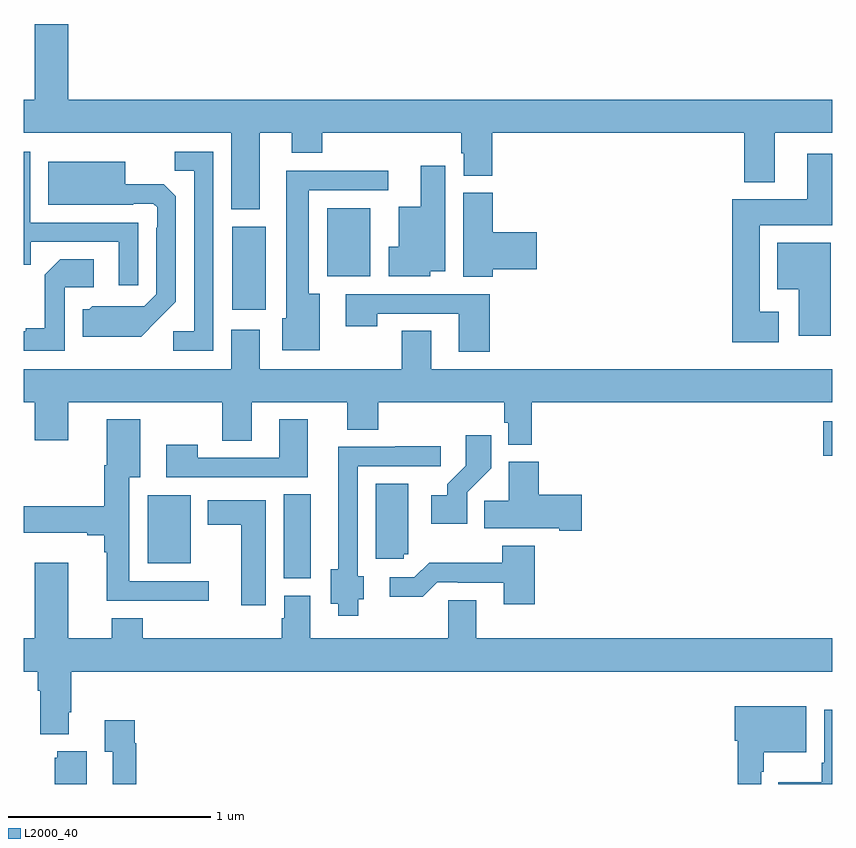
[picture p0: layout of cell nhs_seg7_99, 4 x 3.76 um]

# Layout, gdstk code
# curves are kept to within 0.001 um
import gdstk
lib = gdstk.Library(unit=1e-6, precision=1e-09)
def R(c, l, rs):  # rectangles x0, y0, x1, y1
    for r in rs: c.add(gdstk.rectangle(r[:2], r[2:], *l))
def P(c, l, *ps):  # polygons
    for p in ps: c.add(gdstk.Polygon(p, *l))
L2000_40 = (2000, 40)

nhs_seg7_99 = lib.new_cell('nhs_seg7_99')
R(nhs_seg7_99, L2000_40, [(118.286,1061.017,118.42,1061.432), (117.614,1061.093,117.826,1061.428), (120.954,1061.624,121,1061.794), (118.031,1062.345,118.198,1062.757), (118.502,1062.512,118.714,1062.847)])
P(nhs_seg7_99, L2000_40, [(118.168,1063.22),(118.325,1063.22),(118.325,1063.121),(118.478,1063.121),(118.478,1063.22),(119.165,1063.22),(119.165,1063.119),(119.177,1063.119),(119.177,1063.009),(119.318,1063.009),(119.318,1063.22),(120.563,1063.22),(120.563,1062.977),(120.715,1062.977),(120.715,1063.22),(121,1063.22),(121,1063.384),(117.22,1063.384),(117.22,1063.759),(117.056,1063.759),(117.056,1063.384),(117,1063.384),(117,1063.22),(118.028,1063.22),(118.028,1062.842),(118.168,1062.842)],
  [(117.567,1062.777),(117.033,1062.777),(117.033,1063.128),(117,1063.128),(117,1062.568),(117.035,1062.568),(117.035,1062.681),(117.471,1062.681),(117.471,1062.468),(117.567,1062.468)],
  [(117.939,1063.128),(117.748,1063.128),(117.748,1063.033),(117.843,1063.033),(117.843,1062.24),(117.741,1062.24),(117.741,1062.144),(117.939,1062.144)],
  [(120.736,1062.337),(120.64,1062.337),(120.64,1062.764),(121,1062.764),(121,1063.117),(120.875,1063.117),(120.875,1062.892),(120.506,1062.892),(120.506,1062.185),(120.736,1062.185)],
  [(117.661,1062.293),(117.753,1062.386),(117.753,1062.908),(117.694,1062.967),(117.502,1062.967),(117.502,1063.078),(117.122,1063.078),(117.122,1062.866),(117.542,1062.866),(117.542,1062.87),(117.642,1062.87),(117.66,1062.852),(117.66,1062.752),(117.657,1062.752),(117.657,1062.423),(117.597,1062.363),(117.34,1062.364),(117.324,1062.348),(117.293,1062.348),(117.293,1062.212),(117.581,1062.212)],
  [(119.01,1062.536),(119.086,1062.536),(119.086,1063.057),(118.964,1063.057),(118.964,1062.856),(118.856,1062.856),(118.856,1062.658),(118.805,1062.658),(118.805,1062.512),(119.01,1062.512)],
  [(118.465,1062.424),(118.411,1062.424),(118.411,1062.936),(118.804,1062.936),(118.804,1063.034),(118.298,1063.034),(118.298,1062.303),(118.28,1062.303),(118.28,1062.146),(118.465,1062.146)],
  [(119.321,1062.545),(119.539,1062.545),(119.539,1062.728),(119.321,1062.728),(119.321,1062.924),(119.174,1062.924),(119.174,1062.508),(119.321,1062.508)],
  [(120.991,1062.676),(120.728,1062.676),(120.728,1062.446),(120.833,1062.446),(120.833,1062.216),(120.991,1062.216)],
  [(117.204,1062.456),(117.346,1062.456),(117.346,1062.596),(117.181,1062.596),(117.105,1062.52),(117.105,1062.253),(117.011,1062.253),(117.011,1062.24),(117,1062.24),(117,1062.144),(117.204,1062.144)],
  [(119.306,1062.423),(118.593,1062.423),(118.593,1062.264),(118.749,1062.264),(118.749,1062.327),(119.153,1062.327),(119.153,1062.138),(119.306,1062.138)],
  [(119.513,1061.888),(121,1061.888),(121,1062.052),(119.017,1062.052),(119.017,1062.242),(118.87,1062.242),(118.87,1062.052),(118.168,1062.052),(118.168,1062.247),(118.028,1062.247),(118.028,1062.052),(117,1062.052),(117,1061.888),(117.056,1061.888),(117.056,1061.7),(117.22,1061.7),(117.22,1061.888),(117.982,1061.888),(117.982,1061.698),(118.129,1061.698),(118.129,1061.888),(118.601,1061.888),(118.601,1061.752),(118.754,1061.752),(118.754,1061.888),(119.377,1061.888),(119.377,1061.787),(119.397,1061.787),(119.397,1061.678),(119.513,1061.678)],
  [(118.405,1061.803),(118.265,1061.803),(118.265,1061.613),(117.861,1061.613),(117.861,1061.677),(117.705,1061.677),(117.705,1061.517),(118.405,1061.517)],
  [(117.916,1061.004),(117.523,1061.004),(117.523,1061.516),(117.577,1061.516),(117.577,1061.803),(117.41,1061.803),(117.41,1061.576),(117.398,1061.576),(117.398,1061.373),(117,1061.373),(117,1061.243),(117.314,1061.243),(117.314,1061.231),(117.398,1061.231),(117.398,1061.147),(117.41,1061.147),(117.41,1060.907),(117.916,1060.907)],
  [(119.193,1061.443),(119.312,1061.562),(119.312,1061.725),(119.187,1061.725),(119.187,1061.573),(119.096,1061.483),(119.096,1061.428),(119.016,1061.428),(119.016,1061.288),(119.193,1061.288)],
  [(118.654,1060.914),(118.681,1060.914),(118.681,1061.028),(118.653,1061.028),(118.653,1061.571),(119.062,1061.571),(119.062,1061.67),(118.837,1061.67),(118.837,1061.667),(118.556,1061.667),(118.556,1061.063),(118.52,1061.063),(118.52,1060.892),(118.556,1060.892),(118.556,1060.832),(118.654,1060.832)],
  [(119.761,1061.43),(119.549,1061.43),(119.549,1061.593),(119.399,1061.593),(119.399,1061.402),(119.278,1061.402),(119.278,1061.264),(119.648,1061.264),(119.648,1061.252),(119.761,1061.252)],
  [(118.881,1061.136),(118.903,1061.136),(118.903,1061.485),(118.742,1061.485),(118.742,1061.115),(118.881,1061.115)],
  [(118.198,1061.404),(117.911,1061.404),(117.911,1061.282),(118.076,1061.282),(118.076,1060.884),(118.198,1060.884)],
  [(119.528,1061.179),(119.368,1061.179),(119.368,1061.095),(119.005,1061.095),(118.932,1061.022),(118.812,1061.022),(118.812,1060.925),(118.973,1060.925),(119.046,1060.998),(119.146,1060.998),(119.146,1060.995),(119.375,1060.995),(119.375,1060.89),(119.528,1060.89)],
  [(117.223,1060.354),(117.236,1060.354),(117.236,1060.556),(121,1060.556),(121,1060.72),(119.239,1060.72),(119.239,1060.91),(119.1,1060.91),(119.1,1060.72),(118.417,1060.72),(118.417,1060.932),(118.289,1060.932),(118.289,1060.821),(118.277,1060.821),(118.277,1060.72),(117.59,1060.72),(117.59,1060.819),(117.437,1060.819),(117.437,1060.72),(117.22,1060.72),(117.22,1061.095),(117.056,1061.095),(117.056,1060.72),(117,1060.72),(117,1060.556),(117.071,1060.556),(117.071,1060.46),(117.083,1060.46),(117.083,1060.247),(117.223,1060.247)],
  [(120.648,1060.061),(120.661,1060.061),(120.661,1060.157),(120.871,1060.157),(120.871,1060.384),(120.518,1060.384),(120.518,1060.214),(120.532,1060.214),(120.532,1060),(120.648,1060)],
  [(121,1060.368),(120.96,1060.368),(120.96,1060.105),(120.948,1060.105),(120.948,1060.009),(120.733,1060.009),(120.733,1060),(121,1060)],
  [(117.557,1060.202),(117.55,1060.202),(117.55,1060.315),(117.401,1060.315),(117.401,1060.159),(117.441,1060.159),(117.441,1060),(117.557,1060)],
  [(117.313,1060.162),(117.167,1060.162),(117.167,1060.131),(117.155,1060.131),(117.155,1060),(117.313,1060)])

lib.write_gds('nhs_seg7_99.gds')
